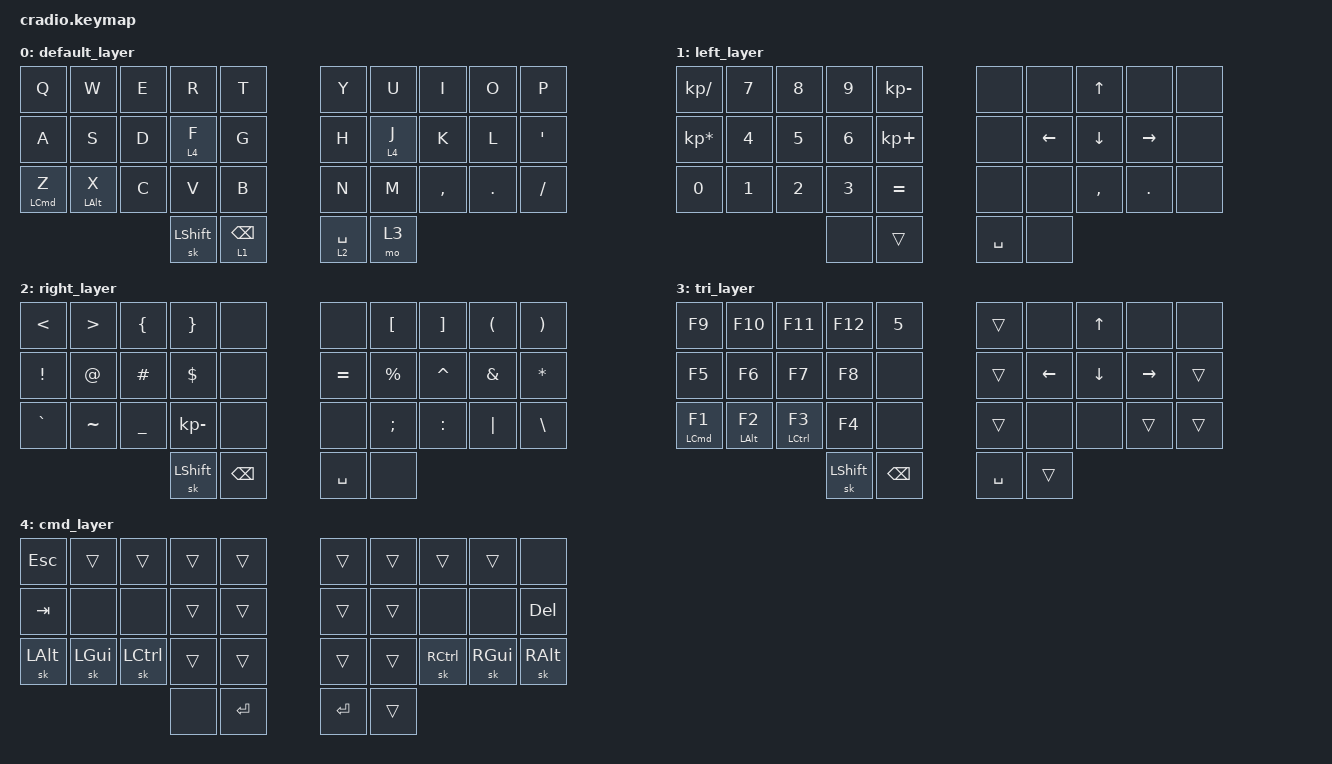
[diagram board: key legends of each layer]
/*
 * Copyright (c) 2020 The ZMK Contributors
 *
 * SPDX-License-Identifier: MIT
 */

#include <behaviors.dtsi>
#include <dt-bindings/zmk/keys.h>

&mt {
    //  flavor = "tap-unless-interrupted";
    // tapping_term_ms = <50>;
};

/ {
    combos { compatible = "zmk,combos"; };

    keymap {
        compatible = "zmk,keymap";

        default_layer {
            bindings = <
&kp Q       &kp W       &kp E  &kp R      &kp T       &kp Y        &kp U    &kp I      &kp O       &kp P
&kp A       &kp S       &kp D  &lt 4 F    &kp G       &kp H        &lt 4 J  &kp K      &kp L       &kp APOS
&mt LCMD Z  &mt LALT X  &kp C  &kp V      &kp B       &kp N        &kp M    &kp COMMA  &kp PERIOD  &kp SLASH
                               &sk LSHFT  &lt 1 BSPC  &lt 2 SPACE  &mo 3
            >;
        };

        left_layer {
            bindings = <
&kp KP_DIVIDE    &kp N7  &kp N8  &kp N9  &kp KP_MINUS  &none      &none     &kp UP_ARROW  &none       &none
&kp KP_MULTIPLY  &kp N4  &kp N5  &kp N6  &kp KP_PLUS   &none      &kp LEFT  &kp DOWN      &kp RIGHT   &none
&kp NUMBER_0     &kp N1  &kp N2  &kp N3  &kp EQUAL     &none      &none     &kp COMMA     &kp PERIOD  &none
                                 &none   &trans        &kp SPACE  &none
            >;
        };

        right_layer {
            bindings = <
&kp LESS_THAN  &kp GREATER_THAN  &kp LEFT_BRACE  &kp RIGHT_BRACE  &none     &none      &kp LEFT_BRACKET  &kp RIGHT_BRACKET  &kp LEFT_PARENTHESIS  &kp RIGHT_PARENTHESIS
&kp EXCL       &kp AT            &kp HASH        &kp DOLLAR       &none     &kp EQUAL  &kp PERCENT       &kp CARET          &kp AMPERSAND         &kp ASTRK
&kp GRAVE      &kp TILDE         &kp UNDER       &kp KP_MINUS     &none     &none      &kp SEMI          &kp COLON          &kp PIPE              &kp BSLH
                                                 &sk LSHFT        &kp BSPC  &kp SPACE  &none
            >;
        };

        tri_layer {
            bindings = <
&kp F9       &kp F10      &kp F11       &kp F12         &kp NUM_5  &trans     &none           &kp UP_ARROW    &none            &none
&kp F5       &kp F6       &kp F7        &kp F8          &none      &trans     &kp LEFT_ARROW  &kp DOWN_ARROW  &kp RIGHT_ARROW  &trans
&mt LCMD F1  &mt LALT F2  &mt LCTRL F3  &kp F4          &none      &trans     &none           &none           &trans           &trans
                                        &sk LEFT_SHIFT  &kp BSPC   &kp SPACE  &trans
            >;
        };

        cmd_layer {
            bindings = <
&kp ESC       &trans        &trans     &trans  &trans     &trans     &trans  &trans     &trans         &none
&kp TAB       &none         &none      &trans  &trans     &trans     &trans  &none      &none          &kp DELETE
&sk LEFT_ALT  &sk LEFT_GUI  &sk LCTRL  &trans  &trans     &trans     &trans  &sk RCTRL  &sk RIGHT_GUI  &sk RIGHT_ALT
                                       &none   &kp ENTER  &kp ENTER  &trans
            >;
        };
    };
};
